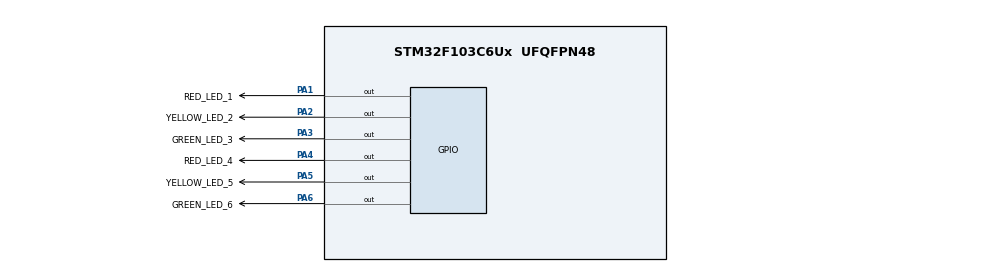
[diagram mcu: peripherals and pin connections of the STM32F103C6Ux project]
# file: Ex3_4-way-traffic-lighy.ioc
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Mcu.Family=STM32F1
Mcu.Name=STM32F103C6Ux
Mcu.Package=UFQFPN48
NVIC.PriorityGroup=NVIC_PRIORITYGROUP_4
PA1.GPIO_Label=RED_LED_1
PA1.Signal=GPIO_Output
PA2.GPIO_Label=YELLOW_LED_2
PA2.Signal=GPIO_Output
PA3.GPIO_Label=GREEN_LED_3
PA3.Signal=GPIO_Output
PA4.GPIO_Label=RED_LED_4
PA4.Signal=GPIO_Output
PA5.GPIO_Label=YELLOW_LED_5
PA5.Signal=GPIO_Output
PA6.GPIO_Label=GREEN_LED_6
PA6.Signal=GPIO_Output
ProjectManager.HeapSize=0x200
ProjectManager.StackSize=0x400
ProjectManager.TargetToolchain=STM32CubeIDE
RCC.APB1Freq_Value=8000000
RCC.APB2Freq_Value=8000000
VP_SYS_VS_ND.Mode=No_Debug
board=custom

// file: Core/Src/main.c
/* USER CODE BEGIN Header */
/**
  ******************************************************************************
  * @file           : main.c
  * @brief          : Main program body
  ******************************************************************************
  * @attention
  *
  * <h2><center>&copy; Copyright (c) 2026 STMicroelectronics.
  * All rights reserved.</center></h2>
  *
  * This software component is licensed by ST under BSD 3-Clause license,
  * the "License"; You may not use this file except in compliance with the
  * License. You may obtain a copy of the License at:
  *                        opensource.org/licenses/BSD-3-Clause
  *
  ******************************************************************************
  */
/* USER CODE END Header */
#include "main.h"

/* USER CODE BEGIN PTD */
typedef enum{
	AUTO_RED_GREEN = 0, //r1 - g6
	AUTO_RED_YELLOW, // r1 - y5
	AUTO_GREEN_RED, // g3 - r4
	AUTO_YELLOW_RED // y2 - r4
}TrafficState;
/* USER CODE END PTD */

void SystemClock_Config(void);
static void MX_GPIO_Init(void);

/* USER CODE BEGIN 0 */
void setTrafficLight1(int red, int yellow, int green) {
    HAL_GPIO_WritePin(RED_LED_1_GPIO_Port, RED_LED_1_Pin, red ? GPIO_PIN_RESET : GPIO_PIN_SET);
    HAL_GPIO_WritePin(YELLOW_LED_2_GPIO_Port, YELLOW_LED_2_Pin, yellow ? GPIO_PIN_RESET : GPIO_PIN_SET);
    HAL_GPIO_WritePin(GREEN_LED_3_GPIO_Port, GREEN_LED_3_Pin, green ? GPIO_PIN_RESET : GPIO_PIN_SET);
}
// way
void setTrafficLight2(int red, int yellow, int green) {
    HAL_GPIO_WritePin(RED_LED_4_GPIO_Port, RED_LED_4_Pin, red ? GPIO_PIN_RESET : GPIO_PIN_SET);
    HAL_GPIO_WritePin(YELLOW_LED_5_GPIO_Port, YELLOW_LED_5_Pin, yellow ? GPIO_PIN_RESET : GPIO_PIN_SET);
    HAL_GPIO_WritePin(GREEN_LED_6_GPIO_Port, GREEN_LED_6_Pin, green ? GPIO_PIN_RESET : GPIO_PIN_SET);
}
/* USER CODE END 0 */

int main(void)
{

  /* MCU Configuration--------------------------------------------------------*/

  /* Reset of all peripherals, Initializes the Flash interface and the Systick. */
  HAL_Init();

  /* Configure the system clock */
  SystemClock_Config();

  /* Initialize all configured peripherals */
  MX_GPIO_Init();
  /* USER CODE BEGIN 2 */
  TrafficState state = AUTO_RED_GREEN;
  int timer = 3;
  // Khởi tạo hiển thị trạng thái ban đầu
  setTrafficLight1(1, 0, 0);
  setTrafficLight2(0, 0, 1);
  /* USER CODE END 2 */

  /* Infinite loop */
  /* USER CODE BEGIN WHILE */
  while (1)
  {
	  HAL_Delay(1000);
	  timer--;
	      if (timer <= 0) {
	          switch (state) {
	              case AUTO_RED_GREEN: // Đang Đỏ 1 - Xanh 2 -> Chuyển sang Đỏ 1 - Vàng 2 (2s)
	                  state = AUTO_RED_YELLOW;
	                  timer = 2;
	                  setTrafficLight1(1, 0, 0);
	                  setTrafficLight2(0, 1, 0);
	                  break;

	              case AUTO_RED_YELLOW: // Đang Đỏ 1 - Vàng 2 -> Chuyển sang Xanh 1 - Đỏ 2 (3s)
	                  state = AUTO_GREEN_RED;
	                  timer = 3;
	                  setTrafficLight1(0, 0, 1);
	                  setTrafficLight2(1, 0, 0);
	                  break;

	              case AUTO_GREEN_RED: // Đang Xanh 1 - Đỏ 2 -> Chuyển sang Vàng 1 - Đỏ 2 (2s)
	                  state = AUTO_YELLOW_RED;
	                  timer = 2;
	                  setTrafficLight1(0, 1, 0);
	                  setTrafficLight2(1, 0, 0);
	                  break;

	              case AUTO_YELLOW_RED: // Hết chu kỳ -> Quay lại Đỏ 1 - Xanh 2 (3s)
	                  state = AUTO_RED_GREEN;
	                  timer = 3;
	                  setTrafficLight1(1, 0, 0);
	                  setTrafficLight2(0, 0, 1);
	                  break;
	          }
	      }

    /* USER CODE END WHILE */

  }
}

void SystemClock_Config(void)
{
  RCC_OscInitTypeDef RCC_OscInitStruct = {0};
  RCC_ClkInitTypeDef RCC_ClkInitStruct = {0};

  /** Initializes the RCC Oscillators according to the specified parameters
  * in the RCC_OscInitTypeDef structure.
  */
  RCC_OscInitStruct.OscillatorType = RCC_OSCILLATORTYPE_HSI;
  RCC_OscInitStruct.HSIState = RCC_HSI_ON;
  RCC_OscInitStruct.HSICalibrationValue = RCC_HSICALIBRATION_DEFAULT;
  RCC_OscInitStruct.PLL.PLLState = RCC_PLL_NONE;
  if (HAL_RCC_OscConfig(&RCC_OscInitStruct) != HAL_OK)
  {
    Error_Handler();
  }
  /** Initializes the CPU, AHB and APB buses clocks
  */
  RCC_ClkInitStruct.ClockType = RCC_CLOCKTYPE_HCLK|RCC_CLOCKTYPE_SYSCLK
                              |RCC_CLOCKTYPE_PCLK1|RCC_CLOCKTYPE_PCLK2;
  RCC_ClkInitStruct.SYSCLKSource = RCC_SYSCLKSOURCE_HSI;
  RCC_ClkInitStruct.AHBCLKDivider = RCC_SYSCLK_DIV1;
  RCC_ClkInitStruct.APB1CLKDivider = RCC_HCLK_DIV1;
  RCC_ClkInitStruct.APB2CLKDivider = RCC_HCLK_DIV1;

  if (HAL_RCC_ClockConfig(&RCC_ClkInitStruct, FLASH_LATENCY_0) != HAL_OK)
  {
    Error_Handler();
  }
}

static void MX_GPIO_Init(void)
{
  GPIO_InitTypeDef GPIO_InitStruct = {0};

  /* GPIO Ports Clock Enable */
  __HAL_RCC_GPIOA_CLK_ENABLE();

  /*Configure GPIO pin Output Level */
  HAL_GPIO_WritePin(GPIOA, RED_LED_1_Pin|YELLOW_LED_2_Pin|GREEN_LED_3_Pin|RED_LED_4_Pin
                          |YELLOW_LED_5_Pin|GREEN_LED_6_Pin, GPIO_PIN_RESET);

  /*Configure GPIO pins : RED_LED_1_Pin YELLOW_LED_2_Pin GREEN_LED_3_Pin RED_LED_4_Pin
                           YELLOW_LED_5_Pin GREEN_LED_6_Pin */
  GPIO_InitStruct.Pin = RED_LED_1_Pin|YELLOW_LED_2_Pin|GREEN_LED_3_Pin|RED_LED_4_Pin
                          |YELLOW_LED_5_Pin|GREEN_LED_6_Pin;
  GPIO_InitStruct.Mode = GPIO_MODE_OUTPUT_PP;
  GPIO_InitStruct.Pull = GPIO_NOPULL;
  GPIO_InitStruct.Speed = GPIO_SPEED_FREQ_LOW;
  HAL_GPIO_Init(GPIOA, &GPIO_InitStruct);

}

void Error_Handler(void)
{
  __disable_irq();
  while (1)
  {
  }
}

/************************ (C) COPYRIGHT STMicroelectronics *****END OF FILE****/
